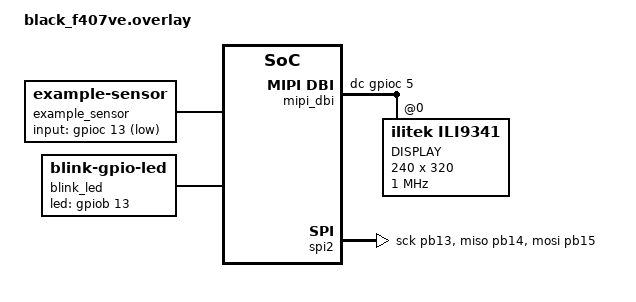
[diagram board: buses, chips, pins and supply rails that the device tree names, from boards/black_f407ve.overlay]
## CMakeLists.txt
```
#-------------------------------------------------------------------------------
# Zephyr Example Application
#
# Copyright (c) 2021 Nordic Semiconductor ASA
# SPDX-License-Identifier: Apache-2.0

cmake_minimum_required(VERSION 3.13.1)
find_package(Zephyr REQUIRED HINTS $ENV{ZEPHYR_BASE})

project(app LANGUAGES C)

target_sources(
  app 
  PRIVATE src/main.c
          src/display.c
)

target_include_directories(app PRIVATE src)

# The code below locates the git index file for this repository and adds it as a dependency for
# the application VERSION file so that if the repo has a new commit added, even if no files in
# the build have changed, the application version file will be regenerated with the new git commit
find_package(Git QUIET)
if(GIT_FOUND)
  execute_process(
    COMMAND ${GIT_EXECUTABLE} rev-parse --absolute-git-dir
    WORKING_DIRECTORY .
    OUTPUT_VARIABLE application_git_dir
    OUTPUT_STRIP_TRAILING_WHITESPACE
    ERROR_STRIP_TRAILING_WHITESPACE
    ERROR_VARIABLE stderr
    RESULT_VARIABLE return_code
  )
  # If there is an error e.g. it is not a git repo, we just silently ignore it and continue
  # without a dependency, this will be the case with freestanding applications.
  if(NOT return_code)
    if(NOT "${stderr}" STREQUAL "")
      message(WARNING "Application build version git rev-parse warned: ${stderr}")
    endif()

    set_property(TARGET app_version_h PROPERTY APP_VERSION_DEPENDS ${application_git_dir}/index)
  endif()
endif()
```

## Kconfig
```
# Copyright (c) 2021 Nordic Semiconductor ASA
# SPDX-License-Identifier: Apache-2.0
#
# This file is the application Kconfig entry point. All application Kconfig
# options can be defined here or included via other application Kconfig files.
# You can browse these options using the west targets menuconfig (terminal) or
# guiconfig (GUI).

menu "Zephyr"
source "Kconfig.zephyr"
endmenu

module = APP
module-str = APP
source "subsys/logging/Kconfig.template.log_config"

config SAMPLE_BUFFER_ADDR_ALIGN
	int "The display buffer address alignment"
	default 8 if 64BIT
	default 8 if DISPLAY_MCUX_ELCDIF
	default 4

config SAMPLE_PITCH_ALIGN
	int "The update area pitch alignment"
	default 1

config HEAP_MEM_POOL_ADD_SIZE_SAMPLE
	int "Sample maximum heap allocated buffer size"
	default 196608 if QEMU_RAMFB_DISPLAY
	default 65536
	help
	  Maximum size of the buffer for rendering rectangles
```

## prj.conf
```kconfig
# Copyright (c) 2021 Nordic Semiconductor ASA
# SPDX-License-Identifier: Apache-2.0
#
# This file contains selected Kconfig options for the application.

CONFIG_SENSOR=y
CONFIG_BLINK=y

CONFIG_LOG=y
CONFIG_DISPLAY=y
CONFIG_SPI=y
CONFIG_GPIO=y
```

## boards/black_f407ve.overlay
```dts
/*
 * Copyright (c) 2021 Nordic Semiconductor ASA
 * SPDX-License-Identifier: Apache-2.0
 */

/* This devicetree overlay file will be automatically picked by the Zephyr
 * build system when building the sample for the black_f407ve board. It shows
 * how the example-application can be built on sample boards already provided
 * by Zephyr.
 */

#include <zephyr/dt-bindings/display/panel.h>

/**
 * TFT LCD Display SPI pins: SPI2
 * 
 * SDI: (Data In)		PB15/MOSI = U2.54 = SPI2_MOSI/TIM1_CH3N/PB15 
 * SCL: (Clock) 		PB13/SCK = U2.52 = SPI2_SCK/I2S2_CK/TIM1_CH1N/USART3_CTS/PB13
 * CS: 	(Chip Select)	PB12/CS = U2.51 = SPI2_NSS/I2S2_WS/I2S2_SMBA1/TIM1_BKIN/USART3_CK/PB12 (CS0)
 * SDO: (Data Out)		PB14/MISO = U2.53 = SPI2_MISO/TIM1_CH2N/USART3_RTS/PB14
 * RS: 	(RS/DC/A0)		PC5/RS = U2.34 = PC5/ADC12_IN15
 * BLK: (Backlight)		PB1/BLK = U2.36 = (TIM1_CH3N)/TIM8_CH3/TIM3_CH4/ADC12_IN9/PB1
 */

/ {
	chosen {
		zephyr,display = &ili9341;
	};

	example_sensor: example-sensor {
		compatible = "zephyr,example-sensor";
		input-gpios = <&gpioc 13 (GPIO_PULL_UP | GPIO_ACTIVE_LOW)>;
	};

	blink_led: blink-led {
		compatible = "blink-gpio-led";
		led-gpios = <&gpiob 13 GPIO_ACTIVE_HIGH>;
		blink-period-ms = <1000>;
	};

	/*
	* LCD driver controller: ILI9341
	* LCD resolution: 240*320
	* 3.2 inch display version
	* SPI2
	*/

	mipi_dbi {
		compatible = "zephyr,mipi-dbi-spi";
		spi-dev = <&spi2>;
		/* TBC */
		/* reset-gpios = <&gpiob 4 GPIO_ACTIVE_LOW>; */
		/* TBC */
		dc-gpios = <&gpioc 5 GPIO_ACTIVE_HIGH>;
		write-only;
		#address-cells = <1>;
		#size-cells = <0>;

		ili9341: ili9341@0 {
			compatible = "ilitek,ili9341";
			reg = <0>;
			label = "DISPLAY";

			/* 10 MHz */
			mipi-max-frequency = <1000000>;

			width = <240>;
			height = <320>;
			rotation = <90>;
			pixel-format = <PANEL_PIXEL_FORMAT_RGB_565>;

			/* TBC: is this needed? */
			/* mipi-hold-cs; */
			/* mipi-cpol; */
  			/* mipi-cpha; */
		};
	};
};

&gpiob {
	status = "okay";
};

&gpioc {
	status = "okay";
};

&spi2 {
	status = "okay";
	/* cs-gpios = <&gpiob 12 GPIO_ACTIVE_LOW>; */
	/* cs-gpios = <&gpiob 12 (GPIO_PULL_UP | GPIO_ACTIVE_LOW)>; */
	cs-gpios = <&gpiob 12 GPIO_ACTIVE_LOW>;

	/*
	* SCLK: PB13
	* MISO: PB14
	* MOSI: PB15
	*/
	pinctrl-0 = <&spi2_sck_pb13 &spi2_miso_pb14 &spi2_mosi_pb15>;
	pinctrl-names = "default";
};
```

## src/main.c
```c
/*
 * Copyright (c) 2021 Nordic Semiconductor ASA
 * SPDX-License-Identifier: Apache-2.0
 */

#include <zephyr/kernel.h>
#include <zephyr/drivers/sensor.h>
#include <zephyr/logging/log.h>

#include <display.h>
// #include <zephyr/device.h>
// #include <zephyr/drivers/display.h>
#include <app/drivers/blink.h>

#include <app_version.h>

LOG_MODULE_REGISTER(main, CONFIG_APP_LOG_LEVEL);

#define BLINK_PERIOD_MS_STEP 100U
#define BLINK_PERIOD_MS_MAX  1000U

int main(void)
{
	int ret;
	unsigned int period_ms = BLINK_PERIOD_MS_MAX;
	const struct device *dsp;
	const struct device *sensor, *blink;
	struct sensor_value last_val = { 0 }, val;

	printk("Zephyr Example Application %s\n", APP_VERSION_STRING);

	printk("STM32 TFT SPI Display Demo \n");
	int display_status = sample_display_draw();
	printk("sample_display_draw status = %d \n", display_status);


	// dsp = DEVICE_DT_GET(DT_NODELABEL(ili9340));
	// dsp = DEVICE_DT_GET(DT_NODELABEL(ili9341));
	dsp = DEVICE_DT_GET(DT_CHOSEN(zephyr_display));
	if (!device_is_ready(dsp)) {
		LOG_ERR("Display device is not ready!");
		return 0;
	}


	sensor = DEVICE_DT_GET(DT_NODELABEL(example_sensor));
	if (!device_is_ready(sensor)) {
		LOG_ERR("Sensor not ready");
		return 0;
	}

	blink = DEVICE_DT_GET(DT_NODELABEL(blink_led));
	if (!device_is_ready(blink)) {
		LOG_ERR("Blink LED not ready");
		return 0;
	}

	ret = blink_off(blink);
	if (ret < 0) {
		LOG_ERR("Could not turn off LED (%d)", ret);
		return 0;
	}

	printk("Use the sensor to change LED blinking period\n");

	while (1) {
		ret = sensor_sample_fetch(sensor);
		if (ret < 0) {
			LOG_ERR("Could not fetch sample (%d)", ret);
			return 0;
		}

		ret = sensor_channel_get(sensor, SENSOR_CHAN_PROX, &val);
		if (ret < 0) {
			LOG_ERR("Could not get sample (%d)", ret);
			return 0;
		}

		if ((last_val.val1 == 0) && (val.val1 == 1)) {
			if (period_ms == 0U) {
				period_ms = BLINK_PERIOD_MS_MAX;
			} else {
				period_ms -= BLINK_PERIOD_MS_STEP;
			}

			printk("Proximity detected, setting LED period to %u ms\n",
			       period_ms);
			blink_set_period_ms(blink, period_ms);
		}

		last_val = val;

		k_sleep(K_MSEC(100));
	}

	return 0;
}
```
